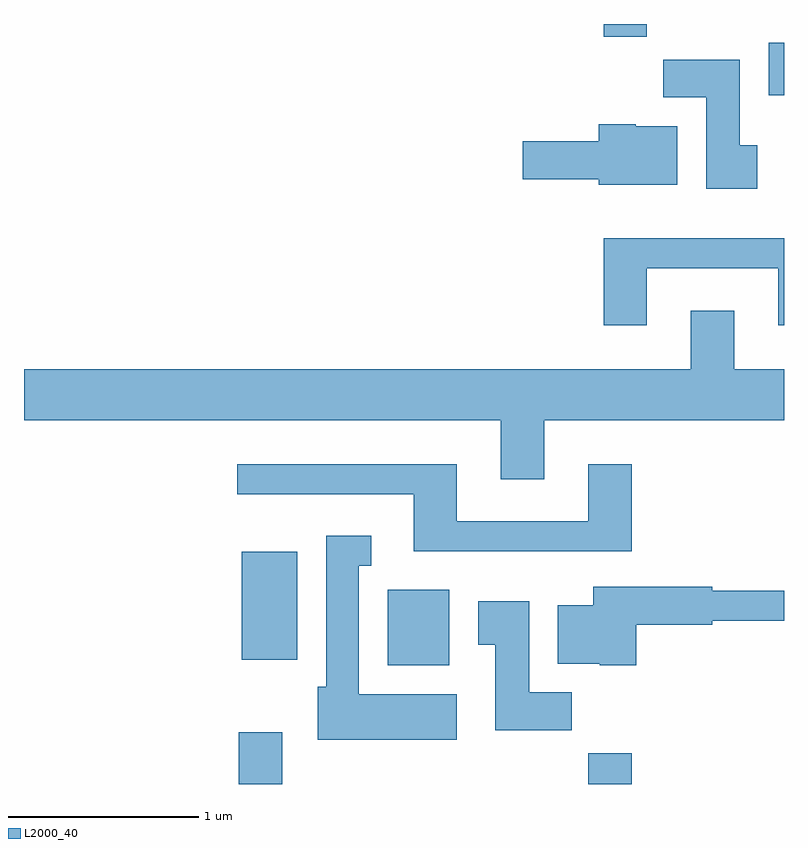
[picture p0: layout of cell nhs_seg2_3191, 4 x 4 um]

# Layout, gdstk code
import gdstk
lib = gdstk.Library(unit=1e-6, precision=1e-09)
def R(c, l, rs):  # rectangles x0, y0, x1, y1
    for r in rs: c.add(gdstk.rectangle(r[:2], r[2:], *l))
def P(c, l, *ps):  # polygons
    for p in ps: c.add(gdstk.Polygon(p, *l))
L2000_40 = (2000, 40)

nhs_seg2_3191 = lib.new_cell('nhs_seg2_3191')
R(nhs_seg2_3191, L2000_40, [(280.741,979.802,280.969,980.074), (282.581,979.802,282.809,979.964), (281.526,980.426,281.849,980.824), (280.756,980.456,281.049,981.024), (283.531,983.426,283.611,983.704), (282.661,983.736,282.889,983.802)])
P(nhs_seg2_3191, L2000_40, [(283.469,983.164),(283.379,983.164),(283.379,983.614),(282.976,983.614),(282.976,983.416),(283.201,983.416),(283.201,982.936),(283.469,982.936)],
  [(283.049,983.264),(282.83,983.264),(282.83,983.274),(282.636,983.274),(282.636,983.184),(282.236,983.184),(282.236,982.986),(282.636,982.986),(282.636,982.956),(283.049,982.956)],
  [(282.889,982.516),(283.581,982.516),(283.581,982.216),(283.611,982.216),(283.611,982.674),(282.661,982.674),(282.661,982.216),(282.889,982.216)],
  [(282.349,981.716),(283.611,981.716),(283.611,981.984),(283.349,981.984),(283.349,982.294),(283.121,982.294),(283.121,981.984),(279.611,981.984),(279.611,981.716),(282.121,981.716),(282.121,981.406),(282.349,981.406)],
  [(282.809,981.484),(282.581,981.484),(282.581,981.184),(281.889,981.184),(281.889,981.484),(280.733,981.484),(280.733,981.326),(281.661,981.326),(281.661,981.026),(282.809,981.026)],
  [(281.889,980.274),(281.374,980.274),(281.374,980.951),(281.438,980.951),(281.438,981.109),(281.201,981.109),(281.201,980.314),(281.156,980.314),(281.156,980.036),(281.889,980.036)],
  [(282.834,980.641),(283.234,980.641),(283.234,980.661),(283.611,980.661),(283.611,980.819),(283.234,980.819),(283.234,980.839),(282.606,980.839),(282.606,980.744),(282.421,980.744),(282.421,980.436),(282.64,980.436),(282.64,980.426),(282.834,980.426)],
  [(282.494,980.284),(282.269,980.284),(282.269,980.764),(282.001,980.764),(282.001,980.536),(282.091,980.536),(282.091,980.086),(282.494,980.086)])

lib.write_gds('nhs_seg2_3191.gds')
